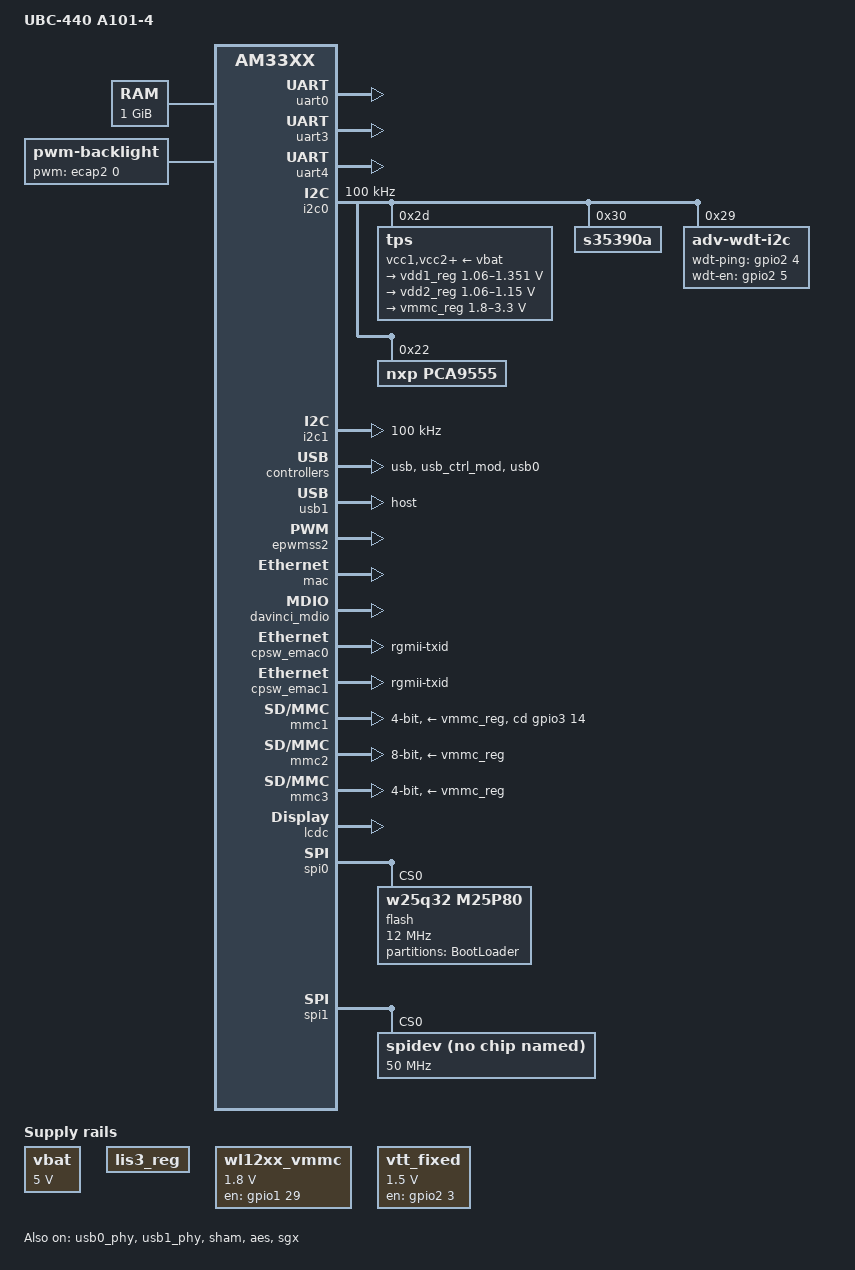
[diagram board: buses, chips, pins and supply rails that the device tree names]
/*
 * Copyright (C) 2012 Texas Instruments Incorporated - http://www.ti.com/
 *
 * This program is free software; you can redistribute it and/or modify
 * it under the terms of the GNU General Public License version 2 as
 * published by the Free Software Foundation.
 */

/*
 * AM335x Starter Kit
 * http://www.ti.com/tool/tmdssk3358
 */

/dts-v1/;

#include "am33xx.dtsi"
#include <dt-bindings/pwm/pwm.h>
#include <dt-bindings/interrupt-controller/irq.h>

/ {
	model = "UBC-440 A101-4";
	compatible = "ti,am335x-evmsk", "ti,am33xx";

	cpus {
		cpu@0 {
			cpu0-supply = <&vdd1_reg>;
		};
	};

	memory {
		device_type = "memory";
		reg = <0x80000000 0x40000000>; /*2 * 256 MB */
	};

	vbat: fixedregulator@0 {
		compatible = "regulator-fixed";
		regulator-name = "vbat";
		regulator-min-microvolt = <5000000>;
		regulator-max-microvolt = <5000000>;
		regulator-boot-on;
	};

	lis3_reg: fixedregulator@1 {
		compatible = "regulator-fixed";
		regulator-name = "lis3_reg";
		regulator-boot-on;
	};

	wl12xx_vmmc: fixedregulator@2 {
		pinctrl-names = "default";
		pinctrl-0 = <&wl12xx_gpio>;
		compatible = "regulator-fixed";
		regulator-name = "vwl1271";
		regulator-min-microvolt = <1800000>;
		regulator-max-microvolt = <1800000>;
		gpio = <&gpio1 29 0>;
		startup-delay-us = <70000>;
		enable-active-high;
	};

	vtt_fixed: fixedregulator@3 {
		compatible = "regulator-fixed";
		regulator-name = "vtt";
		regulator-min-microvolt = <1500000>;
		regulator-max-microvolt = <1500000>;
		gpio = <&gpio2 3 GPIO_ACTIVE_HIGH>;
		regulator-always-on;
		regulator-boot-on;
		enable-active-high;
	};

	backlight {
		compatible = "pwm-backlight";
		pwms = <&ecap2 0 50000 0>;
		brightness-levels = <0 5 30 66 75 90 125 170 255>;
		default-brightness-level = <8>;

	};

	panel {
		compatible = "ti,tilcdc,panel";
		pinctrl-names = "default", "sleep";
		/*pinctrl-0 = <&lcd_pins_default>;
		pinctrl-1 = <&lcd_pins_sleep>;*/
		status = "disabled";
		adv_lcd_timing=<111 1 50
						66 1 250
						112 1 0
					>;

		panel-info {
			ac-bias           = <255>;
			ac-bias-intrpt    = <0>;
			dma-burst-sz      = <16>;
			bpp               = <32>;
			fdd               = <0x80>;
			sync-edge         = <0>;
			sync-ctrl         = <1>;
			raster-order      = <0>;
			fifo-th           = <0>;
		};
		display-timings {
			800x480 {
				hactive         = <800>;
				vactive         = <480>;
				hback-porch     = <96>;
				hfront-porch    = <24>;
				hsync-len       = <72>;
				vback-porch     = <3>;
				vfront-porch    = <10>;
				vsync-len       = <7>;
				clock-frequency = <29500000>;
				hsync-active    = <0>;
				vsync-active    = <0>;
			};
		};
	};
};

&am33xx_pinmux {
	pinctrl-names = "default";
	pinctrl-0 = <&ddr3_vtt_toggle>;

	ddr3_vtt_toggle: ddr3_vtt_toggle {
		pinctrl-single,pins = <
			0x94 0x7	/* gpmc_oen_ren.gpio2_3, OUTPUT | MODE7 */
		>;
	};

	user_leds_default: user_leds_default {
		pinctrl-single,pins = <
			0x10 (PIN_OUTPUT_PULLDOWN | MUX_MODE7)	/* gpmc_ad4.gpio1_4 */
			0x14 (PIN_OUTPUT_PULLDOWN | MUX_MODE7)	/* gpmc_ad5.gpio1_5 */
			0x18 (PIN_OUTPUT_PULLDOWN | MUX_MODE7)	/* gpmc_ad6.gpio1_6 */
			0x1c (PIN_OUTPUT_PULLDOWN | MUX_MODE7)	/* gpmc_ad7.gpio1_7 */
		>;
	};

	user_leds_sleep: user_leds_sleep {
		pinctrl-single,pins = <
			0x10 (PIN_INPUT_PULLDOWN | MUX_MODE7)	/* gpmc_a5.gpio1_21 */
			0x14 (PIN_INPUT_PULLDOWN | MUX_MODE7)	/* gpmc_a6.gpio1_22 */
			0x18 (PIN_INPUT_PULLDOWN | MUX_MODE7)	/* gpmc_a7.gpio1_23 */
			0x1c (PIN_INPUT_PULLDOWN | MUX_MODE7)	/* gpmc_a8.gpio1_24 */
		>;
	};

	i2c0_pins: pinmux_i2c0_pins {
		pinctrl-single,pins = <
			0x188 (PIN_INPUT_PULLUP | MUX_MODE0)	/* i2c0_sda.i2c0_sda */
			0x18c (PIN_INPUT_PULLUP | MUX_MODE0)	/* i2c0_scl.i2c0_scl */
		>;
	};
	
	i2c1_pins: i2c1_pins {
		pinctrl-single,pins = <
			0x16c ( PIN_INPUT | MUX_MODE3 ) /* (E17) uart0_rtsn.I2C1_SCL */
			0x168 ( PIN_INPUT | MUX_MODE3 ) /* (E18) uart0_ctsn.I2C1_SDA */
		>;
	};

	uart0_pins: pinmux_uart0_pins {
		pinctrl-single,pins = <
			0x170 (PIN_INPUT_PULLUP | MUX_MODE0)	/* uart0_rxd.uart0_rxd */
			0x174 (PIN_OUTPUT_PULLDOWN | MUX_MODE0)		/* uart0_txd.uart0_txd */
		>;
	};

	uart1_pins_default: pinmux_uart1_pins_default {
		pinctrl-single,pins = <
			0x178 (PIN_INPUT | MUX_MODE0)			/* uart1_ctsn.uart1_ctsn */
			0x17C (PIN_OUTPUT_PULLDOWN | MUX_MODE0)		/* uart1_rtsn.uart1_rtsn */
			0x180 (PIN_INPUT_PULLUP | MUX_MODE0)		/* uart1_rxd.uart1_rxd */
			0x184 (PIN_OUTPUT_PULLDOWN | MUX_MODE0) 	/* uart1_txd.uart1_txd */
		>;
	};

	uart1_pins_sleep: pinmux_uart1_pins_sleep {
		pinctrl-single,pins = <
			0x178 (PIN_INPUT_PULLDOWN | MUX_MODE7)
			0x17C (PIN_INPUT_PULLDOWN | MUX_MODE7)
			0x180 (PIN_INPUT_PULLDOWN | MUX_MODE7)
			0x184 (PIN_INPUT_PULLDOWN | MUX_MODE7)
		>;
	};

	uart2_pins_default: pinmux_uart2_pins_default {
		pinctrl-single,pins = <
			0x10c (PIN_INPUT_PULLUP | MUX_MODE6)		/* mii1_crs.uart2_rxd */
			0x110 (PIN_OUTPUT_PULLDOWN | MUX_MODE6) 	/* mii1_rxerr.uart2_txd */
		>;
	};

	uart2_pins_sleep: pinmux_uart2_pins_sleep {
		pinctrl-single,pins = <
			0x10c (PIN_INPUT_PULLDOWN | MUX_MODE7)
			0x110 (PIN_INPUT_PULLDOWN | MUX_MODE7)
		>;
	};

	uart3_pins_default: pinmux_uart3_pins_default {
		pinctrl-single,pins = <
			0x160 ( PIN_INPUT | MUX_MODE1 ) /* (C15) spi0_cs1.uart3_rxd */
			0x164 ( PIN_OUTPUT | MUX_MODE1 ) /* (C18) eCAP0_in_PWM0_out.uart3_txd */
			0xc8 ( PIN_INPUT | MUX_MODE6 ) /* (U3) lcd_data10.uart3_ctsn */
			0xcc ( PIN_OUTPUT | MUX_MODE6 ) /* (U4) lcd_data11.uart3_rtsn */
			/*0xcc ( PIN_OUTPUT_PULLUP | MUX_MODE7 ) /* (U4) lcd_data11.uart3_rtsn */
		>;
	};

	uart3_pins_sleep: pinmux_uart3_pins_sleep {
		pinctrl-single,pins = <
			0x160 (PIN_INPUT_PULLDOWN | MUX_MODE7)
			0x164 (PIN_INPUT_PULLDOWN | MUX_MODE7)
			0xc8 (PIN_INPUT_PULLDOWN | MUX_MODE7) /* (U3) lcd_data10.uart3_ctsn */
			0xcc (PIN_INPUT_PULLDOWN | MUX_MODE7) /* (U4) lcd_data11.uart3_rtsn */
		>;
	};

	uart4_pins_default: pinmux_uart4_pins_default {
		pinctrl-single,pins = <
			0x70 (PIN_INPUT_PULLUP | MUX_MODE6)		/* gpmc_wait0.uart4_rxd */
			0x74 (PIN_OUTPUT_PULLDOWN | MUX_MODE6) 		/* gpmc_wpn.uart4_txd */
			0xd0 ( PIN_INPUT | MUX_MODE6 ) /* (V2) lcd_data12.uart4_ctsn */
			0xd4 ( PIN_OUTPUT | MUX_MODE6 ) /* (V3) lcd_data13.uart4_rtsn */
			/*0xd4 ( PIN_OUTPUT_PULLUP | MUX_MODE7 ) /* (V3) lcd_data13.uart4_rtsn */
		>;
	};

	uart4_pins_sleep: pinmux_uart4_pins_sleep {
		pinctrl-single,pins = <
			0x70 (PIN_INPUT_PULLDOWN | MUX_MODE7)
			0x74 (PIN_INPUT_PULLDOWN | MUX_MODE7)
			0xd0 (PIN_INPUT_PULLDOWN | MUX_MODE7) /* (V2) lcd_data12.uart4_ctsn */
			0xd4 (PIN_INPUT_PULLDOWN | MUX_MODE7) /* (V3) lcd_data13.uart4_rtsn */
		>;
	};

	uart5_pins_default: pinmux_uart5_pins_default {
		pinctrl-single,pins = <
			0x108 (PIN_INPUT_PULLUP | MUX_MODE3)		/* mii1_col.uart5_rxd */
			0x144 (PIN_OUTPUT_PULLDOWN | MUX_MODE3) 	/* rmii1_refclk.uart5_txd */
		>;
	};

	uart5_pins_sleep: pinmux_uart5_pins_sleep {
		pinctrl-single,pins = <
			0x108 (PIN_INPUT_PULLDOWN | MUX_MODE7)
			0x144 (PIN_INPUT_PULLDOWN | MUX_MODE7)
		>;
	};

	usb0_pins_default: pinmux_usb0_pins {
		pinctrl-single,pins = <
			0x21c (PIN_OUTPUT_PULLDOWN | MUX_MODE0) /* usb0_drvvbus.usb0_drvvbus */
			0x234 (PIN_OUTPUT_PULLDOWN | MUX_MODE0) /* usb1_drvvbus.usb1_drvvbus */
		>;
	};

	dcan1_pins_default: dcan1_pins_default {
		pinctrl-single,pins = <
			0x168 (PIN_OUTPUT | MUX_MODE2) 		/* uart0_ctsn.d_can1_tx */
			0x16c (PIN_INPUT_PULLDOWN | MUX_MODE2) /* uart0_rtsn.d_can1_rx */
		>;
	};

	clkout2_pin: pinmux_clkout2_pin {
		pinctrl-single,pins = <
			0x1b4 (PIN_OUTPUT_PULLDOWN | MUX_MODE3)		/* xdma_event_intr1.clkout2 */
		>;
	};

	ecap2_pins: backlight_pins {
		pinctrl-single,pins = <
			0x19c 0x4	/* mcasp0_ahclkr.ecap2_in_pwm2_out MODE4 */
		>;
	};

	spi0_pins: pinmux_spi0_pins {
		pinctrl-single,pins = <
			0x150 (PIN_INPUT_PULLUP | MUX_MODE0)          /* sspi0_sclk.spi0_sclk */
			0x154 (PIN_INPUT_PULLUP | MUX_MODE0)          /* spi0_d0.spi0_d0 */
			0x158 (PIN_OUTPUT_PULLUP | MUX_MODE0)         /* spi0_d1.spi0_d1 */
			0x15c (PIN_OUTPUT_PULLUP | MUX_MODE0)         /* spi0_cs0.spi0_cs0 */
		>;
	};
	
	spi1_pins: spi1_pins {
		pinctrl-single,pins = <
			0x108 ( PIN_INPUT | MUX_MODE2 ) /* (H16) gmii1_col.spi1_sclk */
			0x10c ( PIN_INPUT | MUX_MODE2 ) /* (H17) gmii1_crs.spi1_d0 */
			0x110 ( PIN_INPUT | MUX_MODE2 ) /* (J15) gmii1_rxer.spi1_d1 */
			0x144 ( PIN_INPUT | MUX_MODE2 ) /* (H18) rmii1_refclk.spi1_cs0 */
		>;
	};

	wdt_pins_default: pinmux_wdt_pins_default {
		pinctrl-single,pins = <
			0x9c ( PIN_OUTPUT | MUX_MODE7 ) /* (T6) gpmc_be0n_cle.gpio2[5] */
			0x98 (PIN_OUTPUT_PULLDOWN | MUX_MODE7) 		/* gpmc_wen.gpio2_4 */
		>;
	};

	cpsw_default: cpsw_default {
		pinctrl-single,pins = <
			/* Slave 1 */
			0x114 (PIN_OUTPUT_PULLDOWN | MUX_MODE2)	/* mii1_txen.rgmii1_tctl */
			0x118 (PIN_INPUT_PULLDOWN | MUX_MODE2)	/* mii1_rxdv.rgmii1_rctl */
			0x11c (PIN_OUTPUT_PULLDOWN | MUX_MODE2)	/* mii1_txd3.rgmii1_td3 */
			0x120 (PIN_OUTPUT_PULLDOWN | MUX_MODE2)	/* mii1_txd2.rgmii1_td2 */
			0x124 (PIN_OUTPUT_PULLDOWN | MUX_MODE2)	/* mii1_txd1.rgmii1_td1 */
			0x128 (PIN_OUTPUT_PULLDOWN | MUX_MODE2)	/* mii1_txd0.rgmii1_td0 */
			0x12c (PIN_OUTPUT_PULLDOWN | MUX_MODE2)	/* mii1_txclk.rgmii1_tclk */
			0x130 (PIN_INPUT_PULLDOWN | MUX_MODE2)	/* mii1_rxclk.rgmii1_rclk */
			0x134 (PIN_INPUT_PULLDOWN | MUX_MODE2)	/* mii1_rxd3.rgmii1_rd3 */
			0x138 (PIN_INPUT_PULLDOWN | MUX_MODE2)	/* mii1_rxd2.rgmii1_rd2 */
			0x13c (PIN_INPUT_PULLDOWN | MUX_MODE2)	/* mii1_rxd1.rgmii1_rd1 */
			0x140 (PIN_INPUT_PULLDOWN | MUX_MODE2)	/* mii1_rxd0.rgmii1_rd0 */

			/* Slave 2 */
			0x40 (PIN_OUTPUT_PULLDOWN | MUX_MODE2)	/* gpmc_a0.rgmii2_tctl */
			0x44 (PIN_INPUT_PULLDOWN | MUX_MODE2)	/* gpmc_a1.rgmii2_rctl */
			0x48 (PIN_OUTPUT_PULLDOWN | MUX_MODE2)	/* gpmc_a2.rgmii2_td3 */
			0x4c (PIN_OUTPUT_PULLDOWN | MUX_MODE2)	/* gpmc_a3.rgmii2_td2 */
			0x50 (PIN_OUTPUT_PULLDOWN | MUX_MODE2)	/* gpmc_a4.rgmii2_td1 */
			0x54 (PIN_OUTPUT_PULLDOWN | MUX_MODE2)	/* gpmc_a5.rgmii2_td0 */
			0x58 (PIN_OUTPUT_PULLDOWN | MUX_MODE2)	/* gpmc_a6.rgmii2_tclk */
			0x5c (PIN_INPUT_PULLDOWN | MUX_MODE2)	/* gpmc_a7.rgmii2_rclk */
			0x60 (PIN_INPUT_PULLDOWN | MUX_MODE2)	/* gpmc_a8.rgmii2_rd3 */
			0x64 (PIN_INPUT_PULLDOWN | MUX_MODE2)	/* gpmc_a9.rgmii2_rd2 */
			0x68 (PIN_INPUT_PULLDOWN | MUX_MODE2)	/* gpmc_a10.rgmii2_rd1 */
			0x6c (PIN_INPUT_PULLDOWN | MUX_MODE2)	/* gpmc_a11.rgmii2_rd0 */
		>;
	};

	cpsw_sleep: cpsw_sleep {
		pinctrl-single,pins = <
			/* Slave 1 reset value */
			0x114 (PIN_INPUT_PULLDOWN | MUX_MODE7)
			0x118 (PIN_INPUT_PULLDOWN | MUX_MODE7)
			0x11c (PIN_INPUT_PULLDOWN | MUX_MODE7)
			0x120 (PIN_INPUT_PULLDOWN | MUX_MODE7)
			0x124 (PIN_INPUT_PULLDOWN | MUX_MODE7)
			0x128 (PIN_INPUT_PULLDOWN | MUX_MODE7)
			0x12c (PIN_INPUT_PULLDOWN | MUX_MODE7)
			0x130 (PIN_INPUT_PULLDOWN | MUX_MODE7)
			0x134 (PIN_INPUT_PULLDOWN | MUX_MODE7)
			0x138 (PIN_INPUT_PULLDOWN | MUX_MODE7)
			0x13c (PIN_INPUT_PULLDOWN | MUX_MODE7)
			0x140 (PIN_INPUT_PULLDOWN | MUX_MODE7)

			/* Slave 2 reset value*/
			0x40 (PIN_INPUT_PULLDOWN | MUX_MODE7)
			0x44 (PIN_INPUT_PULLDOWN | MUX_MODE7)
			0x48 (PIN_INPUT_PULLDOWN | MUX_MODE7)
			0x4c (PIN_INPUT_PULLDOWN | MUX_MODE7)
			0x50 (PIN_INPUT_PULLDOWN | MUX_MODE7)
			0x54 (PIN_INPUT_PULLDOWN | MUX_MODE7)
			0x58 (PIN_INPUT_PULLDOWN | MUX_MODE7)
			0x5c (PIN_INPUT_PULLDOWN | MUX_MODE7)
			0x60 (PIN_INPUT_PULLDOWN | MUX_MODE7)
			0x64 (PIN_INPUT_PULLDOWN | MUX_MODE7)
			0x68 (PIN_INPUT_PULLDOWN | MUX_MODE7)
			0x6c (PIN_INPUT_PULLDOWN | MUX_MODE7)
		>;
	};

	davinci_mdio_default: davinci_mdio_default {
		pinctrl-single,pins = <
			/* MDIO */
			0x148 (PIN_INPUT_PULLUP | SLEWCTRL_FAST | MUX_MODE0)	/* mdio_data.mdio_data */
			0x14c (PIN_OUTPUT_PULLUP | MUX_MODE0)			/* mdio_clk.mdio_clk */
		>;
	};

	davinci_mdio_sleep: davinci_mdio_sleep {
		pinctrl-single,pins = <
			/* MDIO reset value */
			0x148 (PIN_INPUT_PULLDOWN | MUX_MODE7)
			0x14c (PIN_INPUT_PULLDOWN | MUX_MODE7)
		>;
	};

	mmc1_pins: pinmux_mmc1_pins {
		pinctrl-single,pins = <
			0x0F0 (PIN_INPUT_PULLUP | MUX_MODE0)	/* mmc0_dat3.mmc0_dat3 */
			0x0F4 (PIN_INPUT_PULLUP | MUX_MODE0)	/* mmc0_dat2.mmc0_dat2 */
			0x0F8 (PIN_INPUT_PULLUP | MUX_MODE0)	/* mmc0_dat1.mmc0_dat1 */
			0x0FC (PIN_INPUT_PULLUP | MUX_MODE0)	/* mmc0_dat0.mmc0_dat0 */
			0x100 (PIN_INPUT_PULLUP | MUX_MODE0)	/* mmc0_clk.mmc0_clk */
			0x104 (PIN_INPUT_PULLUP | MUX_MODE0)	/* mmc0_cmd.mmc0_cmd */
			0x1A0 (PIN_INPUT_PULLUP | MUX_MODE7)	/* mcasp0_aclkr.gpio3_18 */
			0x190 (PIN_INPUT_PULLUP | MUX_MODE7)	/* mcasp0_aclkx.gpio3_14 */
		>;
	};

	mcasp1_pins: mcasp1_pins {
		pinctrl-single,pins = <
			0x10c (PIN_INPUT_PULLDOWN | MUX_MODE4) /* mii1_crs.mcasp1_aclkx */
			0x110 (PIN_INPUT_PULLDOWN | MUX_MODE4) /* mii1_rxerr.mcasp1_fsx */
			0x108 (PIN_OUTPUT_PULLDOWN | MUX_MODE4) /* mii1_col.mcasp1_axr2 */
			0x144 (PIN_INPUT_PULLDOWN | MUX_MODE4) /* rmii1_ref_clk.mcasp1_axr3 */
		>;
	};

	mcasp1_pins_sleep: mcasp1_pins_sleep {
		pinctrl-single,pins = <
			0x10c (PIN_INPUT_PULLDOWN | MUX_MODE7)
			0x110 (PIN_INPUT_PULLDOWN | MUX_MODE7)
			0x108 (PIN_INPUT_PULLDOWN | MUX_MODE7)
			0x144 (PIN_INPUT_PULLDOWN | MUX_MODE7)
		>;
	};

	mmc2_pins: pinmux_mmc2_pins {
		pinctrl-single,pins = <
			0x80 (PIN_INPUT_PULLUP | MUX_MODE2) /* gpmc_csn1.mmc1_clk */
			0x84 (PIN_INPUT_PULLUP | MUX_MODE2) /* gpmc_csn2.mmc1_cmd */
			0x00 (PIN_INPUT_PULLUP | MUX_MODE1) /* gpmc_ad0.mmc1_dat0 */
			0x04 (PIN_INPUT_PULLUP | MUX_MODE1) /* gpmc_ad1.mmc1_dat1 */
			0x08 (PIN_INPUT_PULLUP | MUX_MODE1) /* gpmc_ad2.mmc1_dat2 */
			0x0c (PIN_INPUT_PULLUP | MUX_MODE1) /* gpmc_ad3.mmc1_dat3 */
			0x10 (PIN_INPUT_PULLUP | MUX_MODE1) /* gpmc_ad4.mmc1_dat4 */
			0x14 (PIN_INPUT_PULLUP | MUX_MODE1) /* gpmc_ad5.mmc1_dat5 */
			0x18 (PIN_INPUT_PULLUP | MUX_MODE1) /* gpmc_ad6.mmc1_dat6 */
			0x1c (PIN_INPUT_PULLUP | MUX_MODE1) /* gpmc_ad7.mmc1_dat7 */
		>;
	};
	
	mmc3_pins: mmc3_pins {
		pinctrl-single,pins = <
			0x8c ( PIN_INPUT | MUX_MODE3 ) /* (V12) gpmc_clk.mmc2_clk */
			0x88 ( PIN_INPUT | MUX_MODE3 ) /* (T13) gpmc_csn3.mmc2_cmd */
			0x30 ( PIN_INPUT | MUX_MODE3 ) /* (T12) gpmc_ad12.mmc2_dat0 */
			0x34 ( PIN_INPUT | MUX_MODE3 ) /* (R12) gpmc_ad13.mmc2_dat1 */
			0x38 ( PIN_INPUT | MUX_MODE3 ) /* (V13) gpmc_ad14.mmc2_dat2 */
			0x3c ( PIN_INPUT | MUX_MODE3 ) /* (U13) gpmc_ad15.mmc2_dat3 */
		>;
	};

	wl12xx_gpio: pinmux_wl12xx_gpio {
		pinctrl-single,pins = <
			0x7c (PIN_OUTPUT_PULLUP | MUX_MODE7) /* gpmc_csn0.gpio1_29 */
		>;
	};

};

&uart0 {
	pinctrl-names = "default";
	pinctrl-0 = <&uart0_pins>;

	status = "okay";
};

&uart1 {
	pinctrl-names = "default";
	pinctrl-0 = <&uart1_pins_default>;
	adv_rs485flag_gpio = <45>;
	status = "disabled";
};

&uart2 {
	pinctrl-names = "default";
	pinctrl-0 = <&uart2_pins_default>;
	status = "disabled";
};

&uart3 {
	pinctrl-names = "default";
	pinctrl-0 = <&uart3_pins_default>;
	rts-gpio = <&gpio2 17 GPIO_ACTIVE_LOW>;
	rs485-rts-active-high;
	rs485-rx-during-tx;
	rs485-rts-delay = <1 0>;
	adv_rs485flag_gpio = <499>;
	/*linux,rs485-enabled-at-boot-time;*/
	status = "okay";
};

&uart4 {
	pinctrl-names = "default";
	pinctrl-0 = <&uart4_pins_default>;
	rts-gpio = <&gpio0 9 GPIO_ACTIVE_HIGH>;
	rs485-rts-active-high;
	rs485-rx-during-tx;
	rs485-rts-delay = <1 0>;
	adv_rs485flag_gpio = <502>;
	/*linux,rs485-enabled-at-boot-time;*/
	status = "okay";
};

&uart5 {
	pinctrl-names = "default";
	pinctrl-0 = <&uart5_pins_default>;

	status = "disabled";
};

&i2c0 {
	pinctrl-names = "default";
	pinctrl-0 = <&i2c0_pins>;

	status = "okay";
	clock-frequency = <100000>;

	tps: tps@2d {
		reg = <0x2d>;
	};

	s35390a: s35390a@30 {
		compatible = "s35390a";
		reg = <0x30>;
		status = "okay";
	};

	adv-wdt-i2c@29 {
		compatible = "adv-wdt-i2c";
		reg = <0x29>;
		wdt-ping = <&gpio2 4 GPIO_ACTIVE_HIGH>;
		wdt-en = <&gpio2 5 GPIO_ACTIVE_HIGH>;
	};

	pca9555: gpio@22 {
		compatible = "nxp,pca9555";
		reg = <0x22>;
		polarity = <0>;
        default_value = <0 0 0 0 0 0 0 0 0 1 1 0 1 1 0 0>;
        default_direction = <0 0 0 0 0 0 0 0 1 1 1 1 1 1 0 0>;
        export_flag = <1 1 1 1 1 1 0 0 1 1 1 1 1 1 0 0>;
		status = "okay";
	};
};

&i2c1 {
	pinctrl-names = "default";
	pinctrl-0 = <&i2c1_pins>;

	status = "okay";
	clock-frequency = <100000>;

};

&usb {
	status = "okay";
	pinctrl-names = "default";
	pinctrl-0 = <&usb0_pins_default>;	
};

&usb_ctrl_mod {
	status = "okay";
};

&usb0_phy {
	status = "okay";
};

&usb1_phy {
	status = "okay";
};

&usb0 {
	status = "okay";
};

&usb1 {
	status = "okay";
	dr_mode = "host";
};

&cppi41dma  {
	status = "okay";
};

&epwmss2 {
	status = "okay";

	ecap2: ecap@48304100 {
		status = "okay";
		pinctrl-names = "default";
		pinctrl-0 = <&ecap2_pins>;
	};
};

&wkup_m3_ipc {
	ti,needs-vtt-toggle;
	ti,vtt-gpio-pin = <67>;
	ti,scale-data-fw = "am335x-evm-scale-data.bin";
};

#include "tps65910.dtsi"

&tps {
	vcc1-supply = <&vbat>;
	vcc2-supply = <&vbat>;
	vcc3-supply = <&vbat>;
	vcc4-supply = <&vbat>;
	vcc5-supply = <&vbat>;
	vcc6-supply = <&vbat>;
	vcc7-supply = <&vbat>;
	vccio-supply = <&vbat>;

	regulators {
		vrtc_reg: regulator@0 {
			regulator-always-on;
		};

		vio_reg: regulator@1 {
			regulator-always-on;
		};

		vdd1_reg: regulator@2 {
			/* VDD_MPU voltage limits 0.95V - 1.26V with +/-4% tolerance */
			regulator-name = "vdd_mpu";
			regulator-min-microvolt = <1060000>;
			regulator-max-microvolt = <1351500>;
			regulator-boot-on;
			regulator-always-on;
		};

		vdd2_reg: regulator@3 {
			/* VDD_CORE voltage limits 0.95V - 1.1V with +/-4% tolerance */
			regulator-name = "vdd_core";
			regulator-min-microvolt = <1060000>;
			regulator-max-microvolt = <1150000>;
			regulator-boot-on;
			regulator-always-on;
		};

		vdd3_reg: regulator@4 {
			regulator-always-on;
		};

		vdig1_reg: regulator@5 {
			regulator-always-on;
		};

		vdig2_reg: regulator@6 {
			regulator-always-on;
		};

		vpll_reg: regulator@7 {
			regulator-always-on;
		};

		vdac_reg: regulator@8 {
			regulator-always-on;
		};

		vaux1_reg: regulator@9 {
			regulator-always-on;
		};

		vaux2_reg: regulator@10 {
			regulator-always-on;
		};

		vaux33_reg: regulator@11 {
			regulator-always-on;
		};

		vmmc_reg: regulator@12 {
			regulator-min-microvolt = <1800000>;
			regulator-max-microvolt = <3300000>;
			regulator-always-on;
		};
	};
};

&mac {
	pinctrl-names = "default", "sleep";
	pinctrl-0 = <&cpsw_default>;
	pinctrl-1 = <&cpsw_sleep>;
	dual_emac;
	status = "okay";
};

&davinci_mdio {
	pinctrl-names = "default", "sleep";
	pinctrl-0 = <&davinci_mdio_default>;
	pinctrl-1 = <&davinci_mdio_sleep>;
	status = "okay";
};

&cpsw_emac0 {
	phy_id = <&davinci_mdio>, <1>;
	phy-mode = "rgmii-txid";
	dual_emac_res_vlan = <2>;
	status = "okay";
};

&cpsw_emac1 {
	phy_id = <&davinci_mdio>, <7>;
	phy-mode = "rgmii-txid";
	dual_emac_res_vlan = <3>;
	status = "okay";
};

&mmc1 {
	status = "okay";
	vmmc-supply = <&vmmc_reg>;
	bus-width = <4>;
	pinctrl-names = "default";
	pinctrl-0 = <&mmc1_pins>;
	cd-gpios = <&gpio3 14 GPIO_ACTIVE_HIGH>;
};

&sham {
	status = "okay";
};

&aes {
	status = "okay";
};

&gpio0 {
	ti,no-reset-on-init;
};

&mmc2 {
	status = "okay";
	vmmc-supply = <&vmmc_reg>;
	ti,non-removable;
	bus-width = <8>;
	cap-power-off-card;
	pinctrl-names = "default";
	pinctrl-0 = <&mmc2_pins>;
};

&mmc3 {
	/* these are on the crossbar and are outlined in the
	   xbar-event-map element */
	dmas = <&edma_xbar 12 0 1
		&edma_xbar 13 0 2>;
	dma-names = "tx", "rx";
	status = "okay";
	vmmc-supply = <&vmmc_reg>;
	bus-width = <4>;
	pinctrl-names = "default";
	pinctrl-0 = <&mmc3_pins>;
	ti,non-removable;
	ti,needs-special-hs-handling;
	cap-power-off-card;
	keep-power-in-suspend;

	#address-cells = <1>;
	#size-cells = <0>;
/*	wlcore: wlcore@0 {
		compatible = "ti,wl1835";
		reg = <2>;
		interrupt-parent = <&gpio3>;
		interrupts = <17 IRQ_TYPE_LEVEL_HIGH>;
	};*/
};

&mcasp1 {
	#sound-dai-cells = <0>;
	pinctrl-names = "default", "sleep";
	pinctrl-0 = <&mcasp1_pins>;
	pinctrl-1 = <&mcasp1_pins_sleep>;

	status = "disabled";

	op-mode = <0>;          /* MCASP_IIS_MODE */
	tdm-slots = <2>;
	/* 4 serializers */
	serial-dir = <  /* 0: INACTIVE, 1: TX, 2: RX */
		0 0 1 2
	>;
	tx-num-evt = <32>;
	rx-num-evt = <32>;
};

&wdt2 {
	status = "disabled";
};

&tscadc {
	status = "disabled";
	tsc {
		ti,wires = <4>;
		ti,x-plate-resistance = <200>;
		ti,coordinate-readouts = <5>;
		ti,wire-config = <0x00 0x11 0x22 0x33>;
	};
};

&lcdc {
      status = "okay";
};

&sgx {
	status = "okay";
};

&spi0 {
	pinctrl-names = "default";
	pinctrl-0 = <&spi0_pins>;
	status = "okay";

	flash: m25p80@0 {
		compatible = "w25q32,m25p80";
		spi-max-frequency = <12000000>;
		reg = <0>;
		#address-cells = <1>;
		#size-cells = <1>;		

		/* MTD partition table.*/
		partition@0 {
		label = "BootLoader";
		reg = <0x00000000 0x00400000>;
		};
	};
};

&spi1 {
	pinctrl-names = "default";
	pinctrl-0 = <&spi1_pins>;
	status = "okay";
	ti,spi-num-cs = <1>;
	ti,pindir-d0-out-d1-in;
	spidev@0{
		compatible = "spidev";
		reg = <0>;
		spi-max-frequency = <50000000>;
	};
};

&dcan1 {
	status = "disabled";
	pinctrl-names = "default";
	pinctrl-0 = <&dcan1_pins_default>;
};

&rtc {
	clocks = <&clk_32768_ck>, <&clkdiv32k_ick>;
	clock-names = "ext-clk", "int-clk";
	status = "disabled";
};

&gpio2 {
	ti,no-reset-on-init;
};

